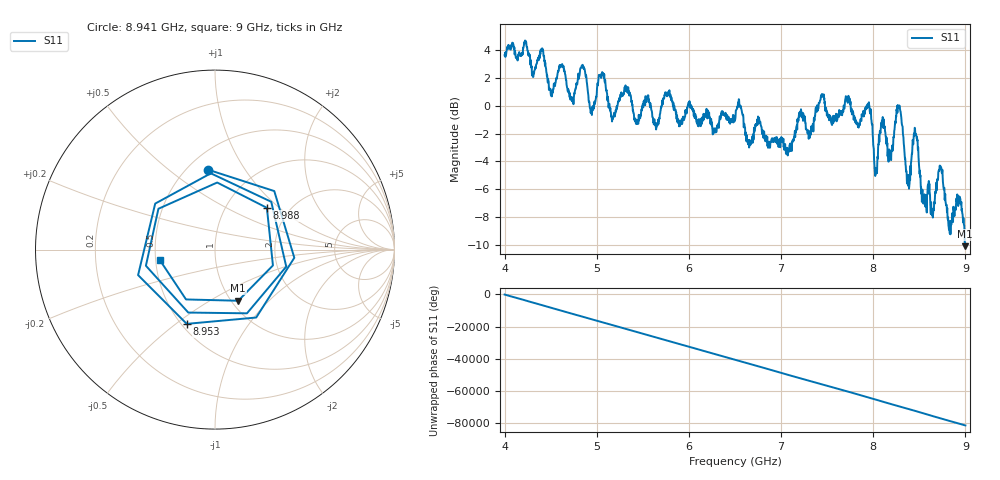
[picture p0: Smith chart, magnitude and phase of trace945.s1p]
! Created with skrf 1.8.0 (http://scikit-rf.org).
# Hz S RI R 50.0
!freq ReS11 ImS11
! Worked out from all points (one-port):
!   1601 points, 4 GHz to 9 GHz, reference 50 ohm
!   lowest |S11| = -10.1 dB at 8.994 GHz (marker M1), VSWR 1.91, Z = 53.8 - j34 ohm
!   |S11| at or under -10 dB: 8.993545 GHz to 8.995181 GHz (1.636 MHz wide, 0.0182 % of centre); 8.998978 GHz to end of sweep
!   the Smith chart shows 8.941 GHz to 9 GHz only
!   S11 on the Smith chart (normalised r, x): 8.941 GHz: 0.62, +0.70; 8.953 GHz: 0.53, -0.55; 8.988 GHz: 1.54, +0.83; 9 GHz: 0.53, -0.07
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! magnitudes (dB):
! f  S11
! 4 GHz  3.6
! 4.403 GHz  4.0
! 4.506 GHz  0.8
! 4.625 GHz  3.0
! 4.728 GHz  0.4
! 4.844 GHz  2.9
! 4.944 GHz  -0.5
! 5.047 GHz  2.0
! 5.169 GHz  -0.9
! 5.25 GHz  0.5
! 5.875 GHz  -1.2
! 6.5 GHz  -1.0
! 7.125 GHz  -2.5
! 7.444 GHz  0.9
! 7.75 GHz  0.1
! 7.953 GHz  0.3
! 8.028 GHz  -4.5
! 8.278 GHz  -0.1
! 8.375 GHz  -5.4
! 8.456 GHz  -1.9
! 8.556 GHz  -6.4
! 8.728 GHz  -4.3
! 8.831 GHz  -9.2
! 8.941 GHz  -7.0
! 8.953 GHz  -7.1
! 8.988 GHz  -8.6
! 8.994 GHz  -10.1
! 9 GHz  -10.1
